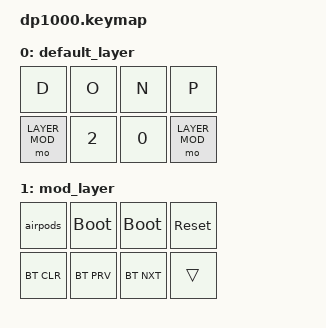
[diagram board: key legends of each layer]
/*
 * Copyright (c) 2020 The ZMK Contributors
 *
 * SPDX-License-Identifier: MIT
 */

#include <behaviors.dtsi>
#include <dt-bindings/zmk/keys.h>
#include <dt-bindings/zmk/bt.h>

#define LAYER_DEFAULT 0
#define LAYER_MOD 1

&mt {
    tapping-term-ms = <300>;
    flavor = "tap-preferred";
};

/ {
    behaviors {
        airpods: tap_dance_0 {
            compatible = "zmk,behavior-tap-dance";
            label = "TAP_DANCE_0";
            #binding-cells = <0>;
            tapping-term-ms = <300>;
            bindings = <&kp C_PLAY_PAUSE>, <&kp C_NEXT>, <&kp C_PREV>;
        };
    };

    keymap {
        compatible = "zmk,keymap";

        default_layer {
            bindings = <
                &kp D              &kp O       &kp N       &kp P
                &mo LAYER_MOD      &kp N2      &kp N0      &mo LAYER_MOD
            >;
        };

        mod_layer {
            bindings = <
                &airpods        &bootloader      &bootloader      &sys_reset
                &bt BT_CLR      &bt BT_PRV       &bt BT_NXT       &trans
            >;
        };
    };
};
